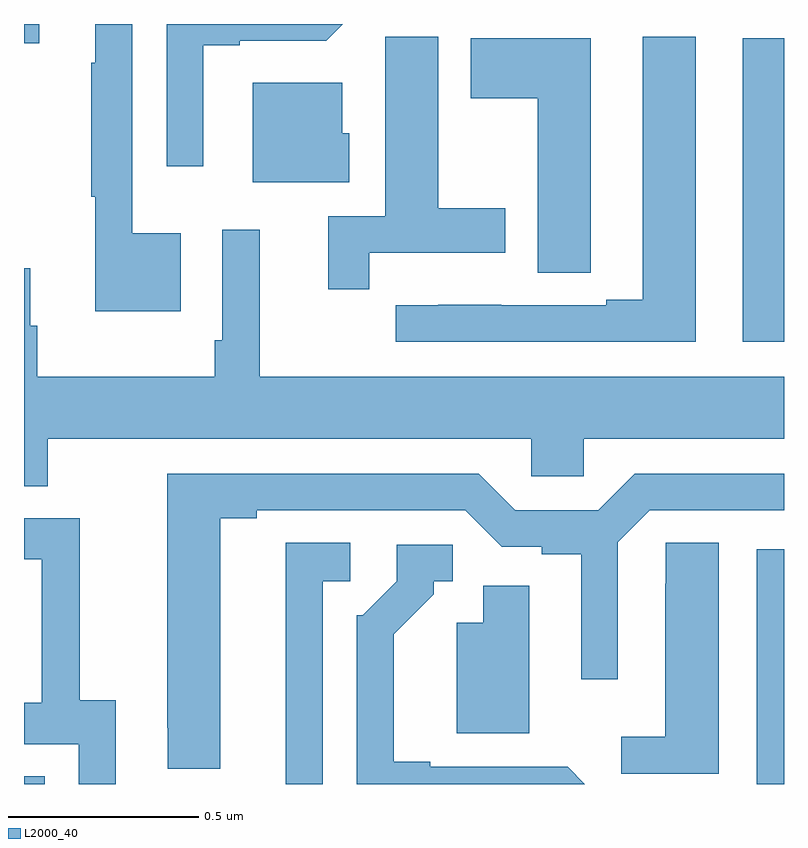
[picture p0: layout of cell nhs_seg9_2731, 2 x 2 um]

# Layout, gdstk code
import gdstk
lib = gdstk.Library(unit=1e-6, precision=1e-09)
def R(c, l, rs):  # rectangles x0, y0, x1, y1
    for r in rs: c.add(gdstk.rectangle(r[:2], r[2:], *l))
def P(c, l, *ps):  # polygons
    for p in ps: c.add(gdstk.Polygon(p, *l))
L2000_40 = (2000, 40)

nhs_seg9_2731 = lib.new_cell('nhs_seg9_2731')
R(nhs_seg9_2731, L2000_40, [(144,1207.5,144.055,1207.52), (145.928,1207.5,146,1208.118), (145.892,1208.664,146,1209.462), (144,1209.45,144.04,1209.5)])
P(nhs_seg9_2731, L2000_40, [(144.472,1209.444),(144.568,1209.444),(144.568,1209.456),(144.795,1209.456),(144.839,1209.5),(144.375,1209.5),(144.375,1209.126),(144.472,1209.126)],
  [(144.412,1208.95),(144.285,1208.95),(144.285,1209.5),(144.188,1209.5),(144.188,1209.398),(144.177,1209.398),(144.177,1209.046),(144.188,1209.046),(144.188,1208.744),(144.412,1208.744)],
  [(145.768,1209.467),(145.628,1209.467),(145.628,1208.775),(145.532,1208.775),(145.532,1208.76),(145.256,1208.76),(145.256,1208.761),(145.09,1208.761),(145.09,1208.76),(144.978,1208.76),(144.978,1208.664),(145.768,1208.664)],
  [(144.908,1208.898),(145.267,1208.898),(145.267,1209.015),(145.09,1209.015),(145.09,1209.467),(144.951,1209.467),(144.951,1209.356),(144.95,1209.356),(144.95,1208.994),(144.8,1208.994),(144.8,1208.802),(144.908,1208.802)],
  [(145.491,1208.953),(145.492,1208.953),(145.492,1209.463),(145.175,1209.463),(145.175,1209.304),(145.352,1209.304),(145.352,1208.845),(145.491,1208.845)],
  [(144.856,1209.213),(144.838,1209.213),(144.838,1209.346),(144.602,1209.346),(144.602,1209.083),(144.856,1209.083)],
  [(144.063,1208.408),(145.335,1208.408),(145.335,1208.31),(145.473,1208.31),(145.473,1208.408),(146,1208.408),(146,1208.572),(144.62,1208.572),(144.62,1208.959),(144.522,1208.959),(144.522,1208.668),(144.502,1208.668),(144.502,1208.572),(144.035,1208.572),(144.035,1208.706),(144.016,1208.706),(144.016,1208.857),(144,1208.857),(144,1208.284),(144.063,1208.284)],
  [(144.517,1208.2),(144.613,1208.2),(144.613,1208.22),(145.161,1208.22),(145.257,1208.124),(145.362,1208.124),(145.362,1208.104),(145.466,1208.104),(145.466,1207.776),(145.563,1207.776),(145.563,1208.136),(145.647,1208.22),(146,1208.22),(146,1208.316),(145.607,1208.316),(145.511,1208.22),(145.293,1208.22),(145.197,1208.316),(144.377,1208.316),(144.377,1207.648),(144.378,1207.648),(144.378,1207.54),(144.517,1207.54)],
  [(144.241,1207.721),(144.147,1207.721),(144.147,1208.199),(144,1208.199),(144,1208.091),(144.047,1208.091),(144.047,1207.714),(144,1207.714),(144,1207.605),(144.144,1207.605),(144.144,1207.5),(144.241,1207.5)],
  [(145.828,1208.135),(145.689,1208.135),(145.689,1208.027),(145.688,1208.027),(145.688,1207.624),(145.572,1207.624),(145.572,1207.527),(145.828,1207.527)],
  [(144.786,1208.034),(144.859,1208.034),(144.859,1208.135),(144.689,1208.135),(144.689,1207.5),(144.786,1207.5)],
  [(145.431,1207.545),(145.069,1207.545),(145.069,1207.558),(144.973,1207.558),(144.973,1207.894),(145.078,1207.999),(145.078,1208.034),(145.128,1208.034),(145.128,1208.13),(144.981,1208.13),(144.981,1208.034),(144.891,1207.944),(144.876,1207.944),(144.876,1207.5),(145.476,1207.5)],
  [(145.33,1208.022),(145.208,1208.022),(145.208,1207.924),(145.139,1207.924),(145.139,1207.634),(145.33,1207.634)])

lib.write_gds('nhs_seg9_2731.gds')
